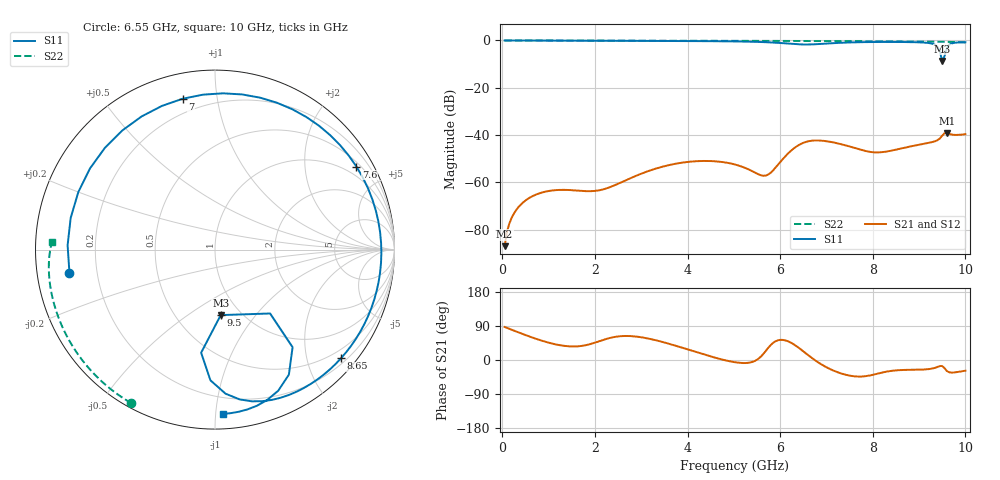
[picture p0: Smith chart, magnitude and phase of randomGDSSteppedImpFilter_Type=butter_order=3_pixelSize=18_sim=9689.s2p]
! freq	dB(S11)	phase(S11)	dB(S12)	phase(S12)
!  dB(S21)	phase(S21)	dB(S22)	phase(S22)
!S-par simulation data
#  GHz  S  DB  R 50
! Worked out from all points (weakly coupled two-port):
!   200 points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, 50 MHz to 10 GHz, reference 50 ohm
!   highest |S21| = -39.08 dB at 9.6 GHz (marker M1); lowest = -86.9 dB at 50 MHz (marker M2)
!   lowest |S11| = -8.7 dB at 9.5 GHz (marker M3), VSWR 2.16, Z = 40.4 - j34.1 ohm
!   |S11| at or under -10 dB: nowhere
!   |S22| runs from -0.8 to 0.0 dB; largest |S21 - S12| = 0
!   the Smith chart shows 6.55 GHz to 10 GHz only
!   S11 on the Smith chart (normalised r, x): 6.55 GHz: 0.10, -0.08; 7 GHz: 0.12, +0.80; 7.6 GHz: 0.64, +3.57; 8.65 GHz: 0.31, -2.66; 9.5 GHz: 0.81, -0.68; 10 GHz: 0.09, -1.05
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0.05  -0.00 -4.0  -86.93 87.3  -86.93 87.3  -0.00 -1.0
0.4  -0.04 -31.7  -69.35 70.5  -69.35 70.5  -0.01 -8.0
0.9  -0.09 -69.3  -64.03 49.2  -64.03 49.2  -0.02 -17.9
1.75  -0.13 -125.5  -63.62 37.8  -63.62 37.8  -0.04 -34.4
2.55  -0.16 -171.3  -60.13 62.8  -60.13 62.8  -0.06 -49.6
3.4  -0.21 142.5  -53.67 49.5  -53.67 49.5  -0.09 -65.2
4.3  -0.28 90.2  -50.94 16.7  -50.94 16.7  -0.11 -81.1
5.05  -0.41 37.9  -52.55 -6.4  -52.55 -6.4  -0.14 -93.9
5.6  -0.66 -12.6  -57.05 11.1  -57.05 11.1  -0.17 -103.1
6.05  -1.14 -72.3  -50.29 53.1  -50.29 53.1  -0.19 -110.5
6.3  -1.51 -117.8  -45.55 40.8  -45.55 40.8  -0.21 -114.6
6.55  -1.71 -170.9  -42.92 18.1  -42.92 18.1  -0.23 -118.7
6.7  -1.66 157.2  -42.34 4.0  -42.34 4.0  -0.24 -121.1
7  -1.31 102.1  -42.58 -19.2  -42.58 -19.2  -0.26 -126.0
7.6  -0.78 30.4  -45.40 -43.0  -45.40 -43.0  -0.31 -135.7
8.35  -0.63 -23.6  -46.77 -29.6  -46.77 -29.6  -0.38 -148.2
8.65  -0.66 -40.7  -45.49 -26.3  -45.49 -26.3  -0.42 -153.4
9.3  -1.45 -80.7  -42.85 -22.1  -42.85 -22.1  -0.51 -165.3
9.5  -8.72 -85.0  -40.23 -15.9  -40.23 -15.9  -0.56 -169.4
9.6  -3.16 -51.5  -39.08 -29.0  -39.08 -29.0  -0.59 -171.7
9.75  -1.04 -70.9  -39.89 -32.9  -39.89 -32.9  -0.64 -175.3
10  -0.75 -87.2  -39.61 -28.2  -39.61 -28.2  -0.83 177.2
